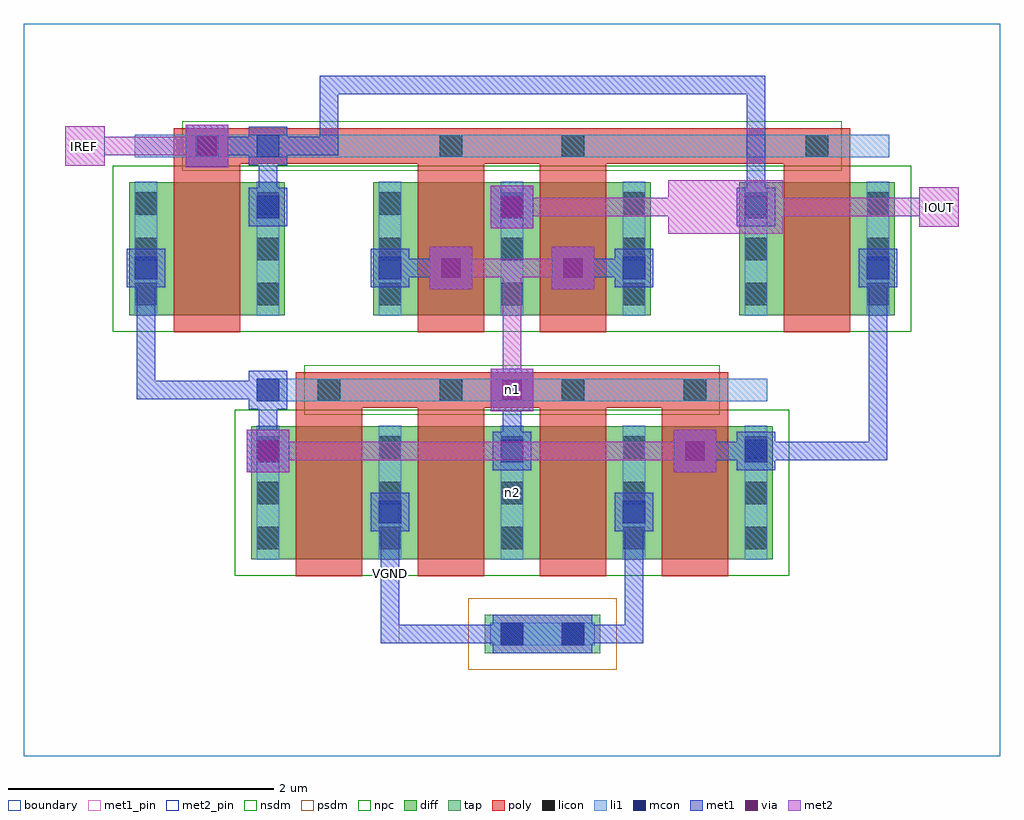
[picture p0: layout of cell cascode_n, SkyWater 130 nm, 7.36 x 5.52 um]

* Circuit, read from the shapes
.subckt cascode_n IOUT IREF VGND n1 n2
XM1 IREF IREF n1 VGND sky130_fd_pr__nfet_01v8 w=1 l=0.5 m=2
XM2 VGND n1 n1 VGND sky130_fd_pr__nfet_01v8 w=1 l=0.5 m=2
XM3 n2 n1 VGND VGND sky130_fd_pr__nfet_01v8 w=1 l=0.5 m=2
XM4 IOUT IREF n2 VGND sky130_fd_pr__nfet_01v8 w=1 l=0.5 m=2
.ends

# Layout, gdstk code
import gdstk
lib = gdstk.Library(unit=1e-6, precision=1e-09)
def R(c, l, rs):  # rectangles x0, y0, x1, y1
    for r in rs: c.add(gdstk.rectangle(r[:2], r[2:], *l))
def A(c, l, x, y, w, h, nx, ny, dx, dy):  # array of equal rectangles
    R(c, l, [(x+i*dx, y+j*dy, x+i*dx+w, y+j*dy+h) for i in range(nx) for j in range(ny)])
diff = (65, 20)
tap = (65, 44)
poly = (66, 20)
licon = (66, 44)
li1 = (67, 20)
mcon = (67, 44)
met1_pin = (68, 16)
met1 = (68, 20)
via = (68, 44)
met2_pin = (69, 16)
met2 = (69, 20)
nsdm = (93, 44)
psdm = (94, 20)
npc = (95, 20)
boundary = (235, 4)

cascode_n = lib.new_cell('cascode_n')
R(cascode_n, diff, [(1.715,1.485,5.645,2.485), (0.795,3.325,1.965,4.325), (2.635,3.325,4.725,4.325), (5.395,3.325,6.565,4.325)])
R(cascode_n, tap, [(3.475,0.775,4.345,1.065)])
A(cascode_n, poly, 2.05, 1.355, 0.5, 1.405, 4, 1, 0.92, 0)
R(cascode_n, poly, [(2.05,2.625,5.31,2.895), (1.13,3.195,1.63,4.6), (2.97,3.195,3.47,4.6), (3.89,3.195,4.39,4.6), (5.73,3.195,6.23,4.6), (1.13,4.465,6.23,4.735)])
A(cascode_n, licon, 1.755, 1.56, 0.17, 0.17, 5, 3, 0.92, 0.34)
A(cascode_n, licon, 2.215, 2.675, 0.17, 0.17, 4, 1, 0.92, 0)
A(cascode_n, licon, 0.835, 3.4, 0.17, 0.17, 7, 3, 0.92, 0.34)
R(cascode_n, licon, [(3.595,0.835,3.765,1.005), (4.055,0.835,4.225,1.005), (1.295,4.515,1.465,4.685), (3.135,4.515,3.305,4.685), (4.055,4.515,4.225,4.685), (5.895,4.515,6.065,4.685)])
A(cascode_n, li1, 1.755, 1.48, 0.17, 1.01, 5, 1, 0.92, 0)
A(cascode_n, li1, 0.835, 3.32, 0.17, 1.01, 7, 1, 0.92, 0)
R(cascode_n, li1, [(3.515,0.835,4.305,1.005), (1.755,2.675,5.605,2.845), (0.835,4.515,6.525,4.685)])
A(cascode_n, mcon, 1.755, 2.215, 0.17, 0.17, 3, 2, 1.84, 1.84)
A(cascode_n, mcon, 0.835, 3.595, 0.17, 0.17, 4, 1, 1.84, 0)
R(cascode_n, mcon, [(3.595,0.835,3.765,1.005), (4.055,0.835,4.225,1.005), (2.675,1.755,2.845,1.925), (4.515,1.755,4.685,1.925), (1.755,2.675,1.925,2.845), (1.755,4.515,1.925,4.685)])
R(cascode_n, met1_pin, [(2.69,0.85,2.83,1.91)])
A(cascode_n, met1, 1.695, 2.155, 0.29, 0.29, 3, 2, 1.84, 1.84)
A(cascode_n, met1, 0.775, 3.535, 0.29, 0.29, 4, 1, 1.84, 0)
R(cascode_n, met1, [(3.535,0.775,4.285,1.065), (2.69,0.85,2.83,1.91), (2.69,0.85,3.75,0.99), (3.61,0.85,3.75,0.99), (3.61,0.85,4.67,0.99), (4.53,0.85,4.67,1.91), (2.615,1.695,2.905,1.985), (4.455,1.695,4.745,1.985), (1.68,2.14,2,2.46), (4.9,2.14,5.22,2.46), (1.77,2.23,1.91,2.83), (3.61,2.23,3.75,2.83), (4.99,2.23,5.59,2.37), (5.45,2.23,6.51,2.37), (6.37,2.23,6.51,3.75), (3.52,2.6,3.84,2.92), (1.695,2.615,1.985,2.905), (0.85,2.69,0.99,3.75), (0.85,2.69,1.91,2.83), (3.06,3.52,3.38,3.84), (3.98,3.52,4.3,3.84), (2.69,3.61,3.29,3.75), (4.07,3.61,4.67,3.75), (3.52,3.98,3.84,4.3), (1.77,4.07,1.91,4.67), (5.45,4.07,5.59,5.13), (1.22,4.44,1.54,4.76), (1.695,4.455,1.985,4.745), (1.31,4.53,1.91,4.67), (1.77,4.53,2.37,4.67), (2.23,4.53,2.37,5.13), (2.23,4.99,5.59,5.13)])
R(cascode_n, via, [(1.765,2.225,1.915,2.375), (4.985,2.225,5.135,2.375), (3.605,2.685,3.755,2.835), (3.145,3.605,3.295,3.755), (4.065,3.605,4.215,3.755), (3.605,4.065,3.755,4.215), (1.305,4.525,1.455,4.675)])
R(cascode_n, met2_pin, [(6.75,3.99,7.05,4.29), (0.31,4.45,0.61,4.75)])
R(cascode_n, met2, [(1.68,2.14,2,2.46), (4.9,2.14,5.22,2.46), (1.77,2.23,5.13,2.37), (3.52,2.6,3.84,2.92), (3.61,2.69,3.75,3.75), (3.06,3.52,3.38,3.84), (3.98,3.52,4.3,3.84), (3.15,3.61,3.75,3.75), (3.61,3.61,4.21,3.75), (4.86,3.94,5.72,4.34), (3.52,3.98,3.84,4.3), (6.75,3.99,7.05,4.29), (3.61,4.07,5.13,4.21), (5.45,4.07,6.97,4.21), (6.83,4.07,6.97,4.21), (1.22,4.44,1.54,4.76), (0.31,4.45,0.61,4.75), (0.39,4.53,0.53,4.67), (0.39,4.53,1.45,4.67)])
R(cascode_n, nsdm, [(1.59,1.36,5.77,2.61), (0.67,3.2,6.69,4.45)])
R(cascode_n, psdm, [(3.35,0.65,4.47,1.19)])
R(cascode_n, npc, [(2.115,2.575,5.245,2.945), (1.195,4.415,6.165,4.785)])
R(cascode_n, boundary, [(0,0,7.36,5.52)])
cascode_n.add(gdstk.Label('n1', (3.68,2.76), layer=67, texttype=5))
cascode_n.add(gdstk.Label('n2', (3.68,1.985), layer=67, texttype=5))
cascode_n.add(gdstk.Label('VGND', (2.76,1.38), layer=68, texttype=5))
cascode_n.add(gdstk.Label('IREF', (0.46,4.6), layer=69, texttype=5))
cascode_n.add(gdstk.Label('IOUT', (6.9,4.14), layer=69, texttype=5))
cascode_n.add(gdstk.Label('VGND', (2.76,1.38), layer=68, texttype=16))
cascode_n.add(gdstk.Label('IREF', (0.46,4.6), layer=69, texttype=16))
cascode_n.add(gdstk.Label('IOUT', (6.9,4.14), layer=69, texttype=16))

lib.write_gds('cascode_n.gds')
